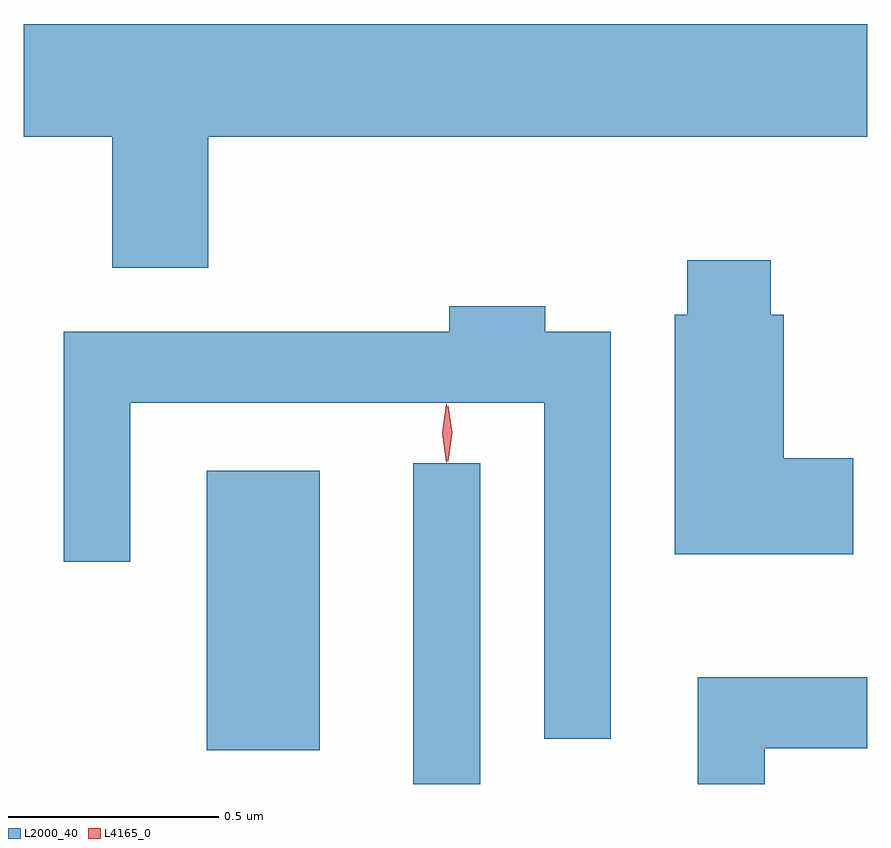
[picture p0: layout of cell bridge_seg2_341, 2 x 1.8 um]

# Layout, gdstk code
import gdstk
lib = gdstk.Library(unit=1e-6, precision=1e-09)
def R(c, l, rs):  # rectangles x0, y0, x1, y1
    for r in rs: c.add(gdstk.rectangle(r[:2], r[2:], *l))
def P(c, l, *ps):  # polygons
    for p in ps: c.add(gdstk.Polygon(p, *l))
L2000_40 = (2000, 40)
L4165_0 = (4165, 0)

bridge_seg2_341 = lib.new_cell('bridge_seg2_341')
R(bridge_seg2_341, L2000_40, [(450.336,1040.121,450.494,1040.882), (449.846,1040.201,450.114,1040.864)])
P(bridge_seg2_341, L2000_40, [(449.849,1041.656),(451.412,1041.656),(451.412,1041.924),(449.412,1041.924),(449.412,1041.656),(449.621,1041.656),(449.621,1041.346),(449.849,1041.346)],
  [(451.379,1040.894),(451.214,1040.894),(451.214,1041.234),(451.184,1041.234),(451.184,1041.364),(450.986,1041.364),(450.986,1041.234),(450.956,1041.234),(450.956,1040.666),(451.379,1040.666)],
  [(450.804,1041.194),(450.649,1041.194),(450.649,1041.254),(450.421,1041.254),(450.421,1041.194),(449.506,1041.194),(449.506,1040.648),(449.664,1040.648),(449.664,1041.026),(450.646,1041.026),(450.646,1040.228),(450.804,1040.228)],
  [(451.169,1040.206),(451.412,1040.206),(451.412,1040.374),(451.011,1040.374),(451.011,1040.121),(451.169,1040.121)])
P(bridge_seg2_341, L4165_0, [(450.414,1040.884),(450.414,1040.884),(450.404,1040.954),(450.414,1041.022),(450.414,1041.023),(450.415,1041.022),(450.424,1040.954),(450.415,1040.884)],
  [(450.417,1040.887),(450.408,1040.954),(450.418,1041.02),(450.418,1041.02),(450.419,1041.02),(450.428,1040.954),(450.418,1040.887),(450.418,1040.887)])

lib.write_gds('bridge_seg2_341.gds')
